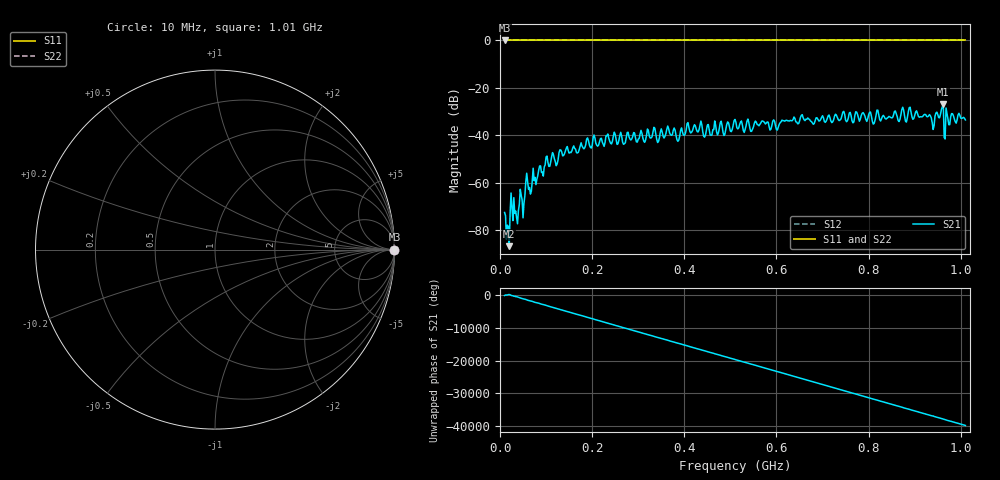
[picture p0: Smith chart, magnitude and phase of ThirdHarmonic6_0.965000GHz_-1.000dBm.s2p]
! 8/16/2025 7:13:42 AM
! C:\ANRITSUVNA\TEMP\TEMP.S2P
! CHANNEL.1
! TR.MEASUREMENT
! RAW.DATA
! RF.CORRECTION.OFF
! AVERAGING.OFF
! IF.BANDWIDTH: 5KHZ
! SWEEPTYPE:  FREQ.SWEEP(Linear)
! Reference Plane Port Info
! PORT:  PORT1  PORT2
! DISTANCE:  0  m  0  m
! TIME:  0  s  0  s
! PHASE.OFFSET:  0  deg.  0  deg.
! LOSS:  0  dB  0  dB
! REF.LOSS:  0  dB  0  dB
! REF.FREQ:  0  Hz  0  Hz
! Power Info
! POWER:  -20  dBm  -20  dBm
! EFF.POWER:  -20  dBm  -20  dBm
! SOURCE.ATTEN:  0  dB  0  dB
! TEST.ATTEN:  0  dB  0  dB
# GHZ S RI R 50.0
! FREQ.GHZ  S11RE  S11IM  S21RE  S21IM  S12RE  S12IM  S22RE  S22IM
!; PortSelection: Port_12
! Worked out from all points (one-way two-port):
!   501 points, 10 MHz to 1.01 GHz, reference 50 ohm
!   highest |S21| = -26.93 dB at 962 MHz (marker M1); lowest = -86.6 dB at 20 MHz (marker M2)
!   lowest |S11| = 0.0 dB at 10 MHz (marker M3)
!   |S11| at or under -10 dB: nowhere
!   |S22| runs from 0.0 to 0.0 dB; largest |S21 - S12| = 1
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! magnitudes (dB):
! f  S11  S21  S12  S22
! 10 MHz  0.0  -72.4  0.0  0.0
! 16 MHz  0.0  -77.8  0.0  0.0
! 20 MHz  0.0  -86.6  0.0  0.0
! 26 MHz  0.0  -70.4  0.0  0.0
! 36 MHz  0.0  -74.6  0.0  0.0
! 44 MHz  0.0  -62.7  0.0  0.0
! 52 MHz  0.0  -68.5  0.0  0.0
! 58 MHz  0.0  -55.9  0.0  0.0
! 66 MHz  0.0  -64.7  0.0  0.0
! 100 MHz  0.0  -49.0  0.0  0.0
! 178 MHz  0.0  -44.4  0.0  0.0
! 334 MHz  0.0  -36.6  0.0  0.0
! 344 MHz  0.0  -42.5  0.0  0.0
! 364 MHz  0.0  -36.0  0.0  0.0
! 510 MHz  0.0  -33.3  0.0  0.0
! 678 MHz  0.0  -34.7  0.0  0.0
! 844 MHz  0.0  -32.0  0.0  0.0
! 890 MHz  0.0  -28.1  0.0  0.0
! 940 MHz  0.0  -37.5  0.0  0.0
! 958 MHz  0.0  -29.1  0.0  0.0
! 962 MHz  0.0  -26.9  0.0  0.0
! 1.01 GHz  0.0  -33.5  0.0  0.0
